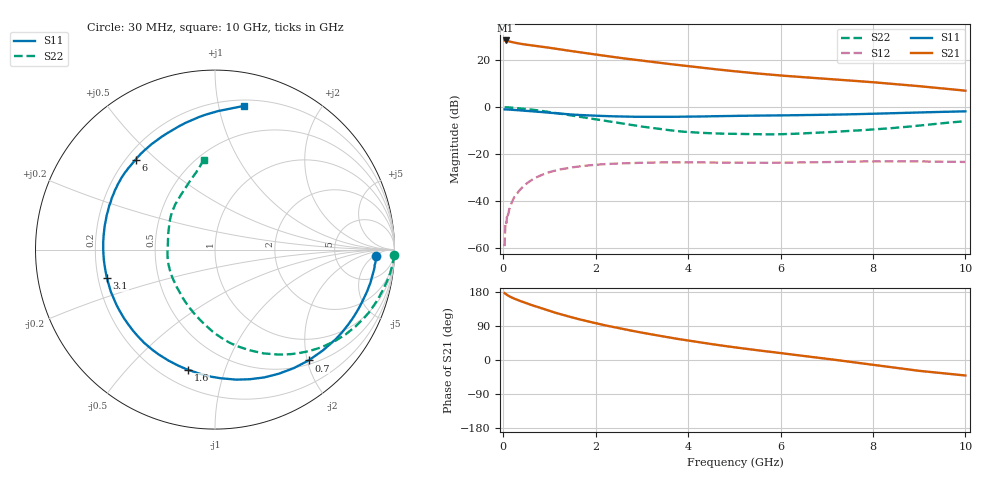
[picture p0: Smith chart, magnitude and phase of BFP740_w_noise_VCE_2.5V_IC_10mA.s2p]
! Infineon Technologies  Discrete & RF Semiconductors
! BFP740
! VCE =  2.5 V,  IC =  10 mA
! Common Emitter S-Parameters:  Jan 2016
# GHz  S  MA  R  50
!  f  S11  S21  S12  S22
! GHz  MAG  ANG  MAG  ANG  MAG  ANG  MAG  ANG
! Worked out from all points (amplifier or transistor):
!   229 points, 30 MHz to 10 GHz, reference 50 ohm
!   highest |S21| = 28.4 dB at 50 MHz (marker M1)
!   |S21| within 3 dB of that: start of sweep to 959.3 MHz
!   unconditionally stable (mu >= 1): 7.106 GHz to end of sweep
!   at 280 MHz: K = 0.13, MSG = 32.3 dB, |S12| = -37.2 dB
!   at 1.78 GHz: K = 0.32, MSG = 24.0 dB, |S12| = -24.9 dB
!   at 10 GHz: K = 1.08, MAG = 13.5 dB, |S12| = -23.3 dB
!   lowest NFmin = 0.51 dB at 450 MHz
!   S11 on the Smith chart (normalised r, x): 30 MHz: 16, -6; 700 MHz: 0.57, -2.02; 1.6 GHz: 0.30, -0.76; 3.1 GHz: 0.24, -0.12; 6 GHz: 0.24, +0.43; 10 GHz: 0.25, +1.19
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0.03  0.8989 -2.4  26.26 176.4  0.0011 59.8  0.9953 -1.6
0.05  0.8981 -3.9  26.32 174.8  0.0035 114.2  0.9962 -2.6
0.13  0.8872 -10.3  25.16 168.2  0.0068 84.2  0.9862 -7.1
0.26  0.8696 -19.8  23.47 160.8  0.0131 80.2  0.9627 -13.4
0.52  0.8342 -37.7  21.29 149.1  0.0242 68.6  0.9109 -25.1
0.7  0.8084 -49.8  20.17 141.5  0.0316 62.0  0.8688 -32.8
0.9  0.7773 -62.9  19.04 133.3  0.0384 55.0  0.8155 -40.9
1.1  0.7475 -75.1  17.8 125.7  0.044 49.1  0.7614 -48.4
1.3  0.7203 -86.4  16.59 118.6  0.0487 43.2  0.7098 -55.3
1.6  0.6871 -102.5  15.06 108.8  0.0543 36.2  0.6386 -64.9
1.7  0.6782 -107.5  14.56 105.8  0.0557 34.3  0.6139 -67.9
2.1  0.6537 -126.4  12.8 94.3  0.0604 26.5  0.5329 -79.9
2.3  0.6426 -135.1  12.04 89.0  0.0619 23.2  0.4958 -85.4
2.72  0.6287 -151.4  10.6 78.7  0.0644 16.9  0.427 -96.7
3.1  0.6228 -165.1  9.517 70.0  0.066 12.3  0.3752 -107.8
3.4  0.622 -175.2  8.765 63.5  0.0665 8.9  0.3419 -117.3
4.1  0.63 164.9  7.276 49.4  0.0669 2.2  0.2912 -140.2
5.1  0.6541 144.1  5.694 32.0  0.0659 -4.0  0.2691 -168.5
6  0.6681 131.4  4.731 18.3  0.0656 -7.3  0.2658 170.8
6.8  0.6856 121.0  4.125 6.2  0.0673 -10.5  0.285 154.1
8.4  0.7432 97.1  3.154 -19.2  0.0703 -19.0  0.3573 122.5
10  0.8158 78.6  2.247 -40.9  0.0683 -26.1  0.5045 97.1
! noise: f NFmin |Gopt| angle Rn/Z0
0.45  0.51  0.22  7  0.16
0.9  0.52  0.22  13  0.16
1.5  0.54  0.21  22  0.15
1.9  0.57  0.21  40  0.15
2.4  0.6  0.2  46  0.14
3.5  0.7  0.18  59  0.13
5.5  0.87  0.17  198  0.12
10  1.35  0.51  -74  0.16
